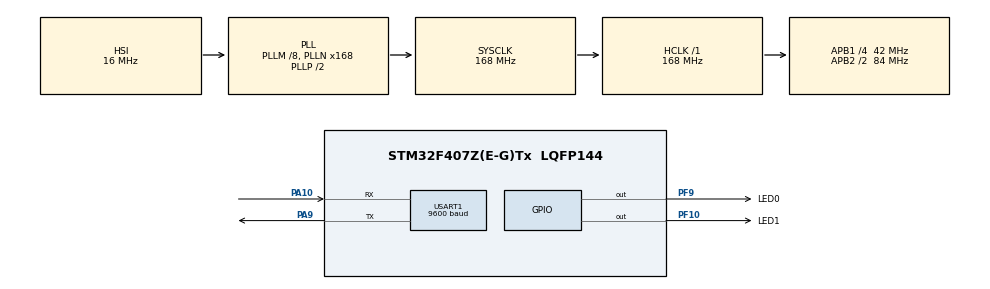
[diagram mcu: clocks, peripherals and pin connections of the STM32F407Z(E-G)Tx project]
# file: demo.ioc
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Mcu.Family=STM32F4
Mcu.Name=STM32F407Z(E-G)Tx
Mcu.Package=LQFP144
NVIC.PriorityGroup=NVIC_PRIORITYGROUP_4
NVIC.USART1_IRQn=true\:0\:0\:false\:false\:true\:true\:true
PA10.Mode=Asynchronous
PA10.Signal=USART1_RX
PA13.Mode=Serial_Wire
PA13.Signal=SYS_JTMS-SWDIO
PA14.Mode=Serial_Wire
PA14.Signal=SYS_JTCK-SWCLK
PA9.Mode=Asynchronous
PA9.Signal=USART1_TX
PF10.GPIO_Label=LED1
PF10.Signal=GPIO_Output
PF9.GPIO_Label=LED0
PF9.Signal=GPIO_Output
ProjectManager.HeapSize=0x200
ProjectManager.StackSize=0x400
ProjectManager.TargetToolchain=MDK-ARM V5.27
RCC.48MHZClocksFreq_Value=84000000
RCC.AHBFreq_Value=168000000
RCC.APB1CLKDivider=RCC_HCLK_DIV4
RCC.APB1Freq_Value=42000000
RCC.APB1TimFreq_Value=84000000
RCC.APB2CLKDivider=RCC_HCLK_DIV2
RCC.APB2Freq_Value=84000000
RCC.APB2TimFreq_Value=168000000
RCC.CortexFreq_Value=168000000
RCC.HCLKFreq_Value=168000000
RCC.HSE_VALUE=25000000
RCC.HSI_VALUE=16000000
RCC.LSE_VALUE=32768
RCC.PLLM=8
RCC.PLLN=168
RCC.SYSCLKFreq_VALUE=168000000
RCC.SYSCLKSource=RCC_SYSCLKSOURCE_PLLCLK
RCC.VCOOutputFreq_Value=336000000
USART1.BaudRate=9600
USART1.VirtualMode=VM_ASYNC
board=custom

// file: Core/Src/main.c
/* USER CODE BEGIN Header */
/**
  ******************************************************************************
  * @file           : main.c
  * @brief          : Main program body
  ******************************************************************************
  * @attention
  *
  * <h2><center>&copy; Copyright (c) 2021 STMicroelectronics.
  * All rights reserved.</center></h2>
  *
  * This software component is licensed by ST under BSD 3-Clause license,
  * the "License"; You may not use this file except in compliance with the
  * License. You may obtain a copy of the License at:
  *                        opensource.org/licenses/BSD-3-Clause
  *
  ******************************************************************************
  */
/* USER CODE END Header */
#include "main.h"
#include "usart.h"
#include "gpio.h"

/* USER CODE BEGIN Includes */
#include "cmd.h"
/* USER CODE END Includes */

/* USER CODE BEGIN PD */
#define USART_REC_LEN 32
/* USER CODE END PD */

/* USER CODE BEGIN PV */
char recv_buf[USART_REC_LEN] = {0};
char recv_temp_data[1] = {0};
/* USER CODE END PV */

void SystemClock_Config(void);

/* USER CODE BEGIN 0 */
void led1_off(void)
{
  HAL_GPIO_WritePin(LED1_GPIO_Port, LED1_Pin, GPIO_PIN_SET);
}

void led1_on(void)
{
  HAL_GPIO_WritePin(LED1_GPIO_Port, LED1_Pin, GPIO_PIN_RESET);
}

void led0_off(void)
{
  HAL_GPIO_WritePin(LED0_GPIO_Port, LED0_Pin, GPIO_PIN_SET);
}

void led0_on(void)
{
  HAL_GPIO_WritePin(LED0_GPIO_Port, LED0_Pin, GPIO_PIN_RESET);
}

REGISTER_CMD(led0_on, led0_on, led0 on);
REGISTER_CMD(led0_off, led0_off, led0 off);
REGISTER_CMD(led1_on, led1_on, led1 on);
REGISTER_CMD(led1_off, led1_off, led1 off);

/* USER CODE END 0 */

int main(void)
{

  /* MCU Configuration--------------------------------------------------------*/

  /* Reset of all peripherals, Initializes the Flash interface and the Systick. */
  HAL_Init();

  /* Configure the system clock */
  SystemClock_Config();

  /* Initialize all configured peripherals */
  MX_GPIO_Init();
  MX_USART1_UART_Init();

  /* Infinite loop */
  /* USER CODE BEGIN WHILE */
  printf("cmd parser testing...\r\n");
  cmd_init();
  HAL_UART_Receive_IT(&huart1, (uint8_t *)recv_temp_data, 1);
  while (1)
  {
    /* USER CODE END WHILE */

  }
}

void SystemClock_Config(void)
{
  RCC_OscInitTypeDef RCC_OscInitStruct = {0};
  RCC_ClkInitTypeDef RCC_ClkInitStruct = {0};

  /** Configure the main internal regulator output voltage
  */
  __HAL_RCC_PWR_CLK_ENABLE();
  __HAL_PWR_VOLTAGESCALING_CONFIG(PWR_REGULATOR_VOLTAGE_SCALE1);
  /** Initializes the RCC Oscillators according to the specified parameters
  * in the RCC_OscInitTypeDef structure.
  */
  RCC_OscInitStruct.OscillatorType = RCC_OSCILLATORTYPE_HSI;
  RCC_OscInitStruct.HSIState = RCC_HSI_ON;
  RCC_OscInitStruct.HSICalibrationValue = RCC_HSICALIBRATION_DEFAULT;
  RCC_OscInitStruct.PLL.PLLState = RCC_PLL_ON;
  RCC_OscInitStruct.PLL.PLLSource = RCC_PLLSOURCE_HSI;
  RCC_OscInitStruct.PLL.PLLM = 8;
  RCC_OscInitStruct.PLL.PLLN = 168;
  RCC_OscInitStruct.PLL.PLLP = RCC_PLLP_DIV2;
  RCC_OscInitStruct.PLL.PLLQ = 4;
  if (HAL_RCC_OscConfig(&RCC_OscInitStruct) != HAL_OK)
  {
    Error_Handler();
  }
  /** Initializes the CPU, AHB and APB buses clocks
  */
  RCC_ClkInitStruct.ClockType = RCC_CLOCKTYPE_HCLK|RCC_CLOCKTYPE_SYSCLK
                              |RCC_CLOCKTYPE_PCLK1|RCC_CLOCKTYPE_PCLK2;
  RCC_ClkInitStruct.SYSCLKSource = RCC_SYSCLKSOURCE_PLLCLK;
  RCC_ClkInitStruct.AHBCLKDivider = RCC_SYSCLK_DIV1;
  RCC_ClkInitStruct.APB1CLKDivider = RCC_HCLK_DIV4;
  RCC_ClkInitStruct.APB2CLKDivider = RCC_HCLK_DIV2;

  if (HAL_RCC_ClockConfig(&RCC_ClkInitStruct, FLASH_LATENCY_5) != HAL_OK)
  {
    Error_Handler();
  }
}

/* USER CODE BEGIN 4 */
void HAL_UART_RxCpltCallback(UART_HandleTypeDef *huart)
{
	static unsigned short int USART_RX_STA = 0;

  if ((USART_RX_STA & 0x8000) == 0)
  {
    if (USART_RX_STA & 0x4000)
    {
      if (recv_temp_data[0] != 0x0a)
        USART_RX_STA = 0;
      else
        USART_RX_STA |= 0x8000;
    }
    else
    {
      if (recv_temp_data[0] == 0x0d)
        USART_RX_STA |= 0x4000;
      else
      {
        recv_buf[USART_RX_STA & 0X3FFF] = recv_temp_data[0];
        USART_RX_STA++;
        if (USART_RX_STA > (USART_REC_LEN - 1))
          USART_RX_STA = 0;
      }
    }
  }

	if(USART_RX_STA & 0x8000 )
	{
		recv_buf[USART_RX_STA & 0X3FFF] = '\0';

		printf("%s",recv_buf);
		USART_RX_STA = 0;
		cmd_parsing(recv_buf);
	}

	HAL_UART_Receive_IT(&huart1, (uint8_t *)recv_temp_data, 1);
}
/* USER CODE END 4 */

void Error_Handler(void)
{
  __disable_irq();
  while (1)
  {
  }
}

/************************ (C) COPYRIGHT STMicroelectronics *****END OF FILE****/
